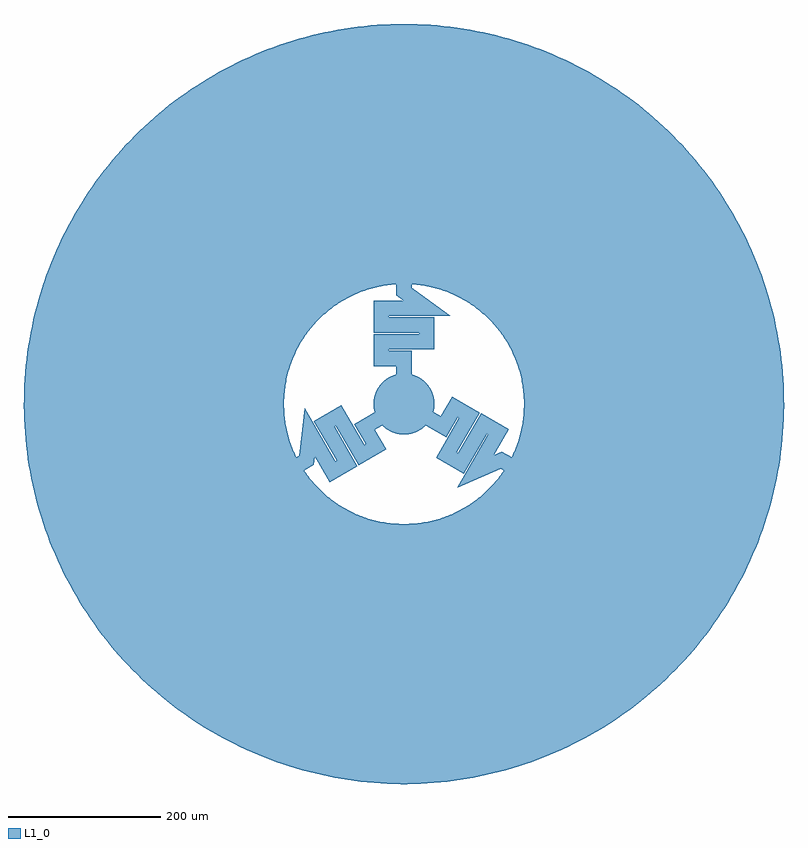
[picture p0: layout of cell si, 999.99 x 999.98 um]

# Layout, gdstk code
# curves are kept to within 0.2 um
import gdstk
lib = gdstk.Library(unit=1e-6, precision=1e-09)
def P(c, l, *ps):  # polygons
    for p in ps: c.add(gdstk.Polygon(p, *l))
L1_0 = (1, 0)

c_si = lib.new_cell('si')
P(c_si, L1_0, [(-0.35,-39.998),(-7.997,-39.193),(-12.061,-38.138),(-15.992,-36.664),(-22.712,-32.927),(-28.592,-27.973),(-33.416,-21.986),(-37.005,-15.186),(-39.227,-7.825),(-39.831,-3.67),(-39.997,0.525),(-39.157,8.168),(-38.085,12.227),(-36.594,16.152),(-32.827,22.855),(-27.848,28.714),(-24.685,31.475),(-21.25,33.889),(-14.373,37.329),(-6.965,39.389),(0.7,39.994),(4.888,39.7),(9.023,38.969),(16.312,36.523),(22.999,32.727),(28.836,27.722),(33.607,21.693),(37.137,14.862),(39.294,7.481),(40,-0.175),(39.227,-7.825),(38.191,-11.894),(36.734,-15.831),(33.026,-22.567),(28.098,-28.469),(22.132,-33.319),(15.348,-36.938),(7.997,-39.193),(3.844,-39.815)],
  [(-4.375,-499.981),(-30.609,-499.062),(-56.759,-496.768),(-82.752,-493.105),(-99.958,-489.907),(-125.531,-483.985),(-150.759,-476.73),(-175.57,-468.161),(-199.898,-458.302),(-215.815,-451.025),(-239.188,-439.078),(-261.902,-425.92),(-283.894,-411.588),(-305.103,-396.121),(-325.472,-379.563),(-344.944,-361.959),(-357.4,-349.665),(-375.258,-330.426),(-392.082,-310.277),(-407.826,-289.272),(-417.699,-274.822),(-431.547,-252.522),(-440.12,-237.265),(-451.965,-213.839),(-462.565,-189.825),(-471.89,-165.287),(-479.914,-140.294),(-486.616,-114.914),(-491.976,-89.217),(-494.797,-71.945),(-497.891,-45.878),(-499.612,-19.685),(-499.957,6.563),(-499.421,24.056),(-498.273,41.519),(-495.408,67.612),(-492.738,84.908),(-489.464,102.1),(-485.591,119.168),(-481.124,136.089),(-474.36,158),(0,158),(-11.052,157.613),(-19.309,156.816),(-30.231,155.081),(-38.328,153.281),(-46.32,151.058),(-56.773,147.448),(-64.433,144.265),(-74.366,139.405),(-81.58,135.31),(-90.845,129.272),(-97.504,124.326),(-105.962,117.201),(-113.901,109.502),(-119.491,103.373),(-126.429,94.761),(-131.228,87.996),(-137.062,78.601),(-140.998,71.299),(-144.546,63.801),(-148.654,53.534),(-152.035,43.004),(-154.082,34.966),(-156.151,24.102),(-157.201,15.874),(-157.926,4.839),(-157.962,-3.456),(-157.563,-11.742),(-156.356,-22.735),(-154.383,-33.616),(-152.406,-41.672),(-150.009,-49.613),(-146.171,-59.985),(-141.617,-70.062),(-137.744,-77.398),(-131.993,-86.844),(-127.253,-93.651),(-122.163,-100.201),(-114.855,-108.501),(-106.984,-116.269),(-100.734,-121.723),(-91.973,-128.472),(-85.104,-133.122),(-75.583,-138.749),(-68.197,-142.524),(-60.624,-145.907),(-50.269,-149.79),(-42.338,-152.222),(-31.587,-154.81),(-20.68,-156.641),(-12.431,-157.51),(-4.147,-157.946),(6.911,-157.849),(15.186,-157.269),(26.149,-155.821),(34.291,-154.234),(44.996,-151.457),(55.48,-147.939),(63.168,-144.823),(73.144,-140.05),(80.393,-136.018),(87.421,-131.612),(96.413,-125.174),(104.933,-118.124),(110.987,-112.454),(116.736,-106.474),(122.163,-100.201),(128.873,-91.41),(133.493,-84.52),(139.078,-74.976),(142.821,-67.573),(146.171,-59.985),(150.009,-49.613),(153.112,-38.998),(154.947,-30.909),(156.73,-19.995),(157.563,-11.742),(157.962,-3.456),(157.817,7.602),(157.201,15.874),(155.705,26.831),(153.447,37.657),(151.259,45.658),(147.695,56.127),(144.546,63.801),(140.998,71.299),(137.062,78.601),(131.228,87.996),(126.429,94.761),(121.282,101.266),(113.901,109.502),(105.962,117.201),(99.665,122.6),(93.094,127.662),(83.936,133.861),(76.795,138.082),(66.948,143.115),(54.184,148.419),(46.32,151.058),(38.328,153.281),(30.231,155.081),(22.05,156.454),(13.809,157.395),(5.529,157.903),(-474.36,158),(-467.389,177.617),(-460.886,193.865),(-453.819,209.876),(-446.196,225.63),(-438.027,241.107),(-429.321,256.289),(-415.278,278.467),(-405.279,292.83),(-389.352,313.696),(-378.135,327.13),(-366.455,340.163),(-354.326,352.779),(-341.763,364.963),(-328.781,376.7),(-315.396,387.976),(-294.6,403.994),(-272.992,418.898),(-258.165,428.195),(-243.021,436.968),(-227.58,445.205),(-211.86,452.897),(-195.88,460.034),(-171.467,469.68),(-154.925,475.393),(-129.762,482.868),(-112.783,487.114),(-95.667,490.763),(-78.433,493.81),(-61.104,496.252),(-43.699,498.087),(-17.498,499.694),(0,500),(17.498,499.694),(43.699,498.087),(69.779,495.107),(95.667,490.763),(121.291,485.065),(146.581,478.031),(171.467,469.68),(195.88,460.034),(211.86,452.897),(235.337,441.154),(258.165,428.195),(280.281,414.056),(294.6,403.994),(315.396,387.976),(335.323,370.888),(354.326,352.779),(372.352,333.697),(389.352,313.696),(405.279,292.83),(415.278,278.467),(429.321,256.289),(442.179,233.404),(453.819,209.876),(464.209,185.77),(473.318,161.151),(481.124,136.089),(487.603,110.651),(491.176,93.519),(495.408,67.612),(498.273,41.519),(499.421,24.056),(499.995,-2.188),(499.191,-28.425),(497.012,-54.584),(494.797,-71.945),(490.339,-97.813),(486.616,-114.914),(479.914,-140.294),(471.89,-165.287),(462.565,-189.825),(451.965,-213.839),(440.12,-237.265),(427.061,-260.036),(412.826,-282.09),(402.701,-296.365),(386.592,-317.091),(369.418,-336.943),(351.225,-355.866),(332.065,-373.809),(311.989,-390.721),(291.054,-406.556),(269.316,-421.271),(254.408,-430.438),(231.467,-443.196),(207.888,-454.733),(183.737,-465.017),(159.079,-474.019),(142.392,-479.296),(117.042,-486.108),(91.369,-491.581),(65.444,-495.699),(39.339,-498.45),(13.125,-499.828)])
c_si.add(gdstk.FlexPath([(0,0),(0,60),(-30,60),(-30,82),(30,82),(30,104),(-30,104),(-30,126),(30,126),(30,126),(0,148),(0,158)], 20, ends="flush", simple_path=True, layer=1, datatype=0))  # L1_0
c_si.add(gdstk.FlexPath([(0,0),(-51.962,-30),(-36.962,-55.981),(-56.014,-66.981),(-86.014,-15.019),(-105.067,-26.019),(-75.067,-77.981),(-94.119,-88.981),(-124.119,-37.019),(-124.119,-37.019),(-128.172,-74),(-136.832,-79)], 20, ends="flush", simple_path=True, layer=1, datatype=0))  # L1_0
c_si.add(gdstk.FlexPath([(0,0),(51.962,-30),(66.962,-4.019),(86.014,-15.019),(56.014,-66.981),(75.067,-77.981),(105.067,-26.019),(124.119,-37.019),(94.119,-88.981),(94.119,-88.981),(128.172,-74),(136.832,-79)], 20, ends="flush", simple_path=True, layer=1, datatype=0))  # L1_0

lib.write_gds('si.gds')
